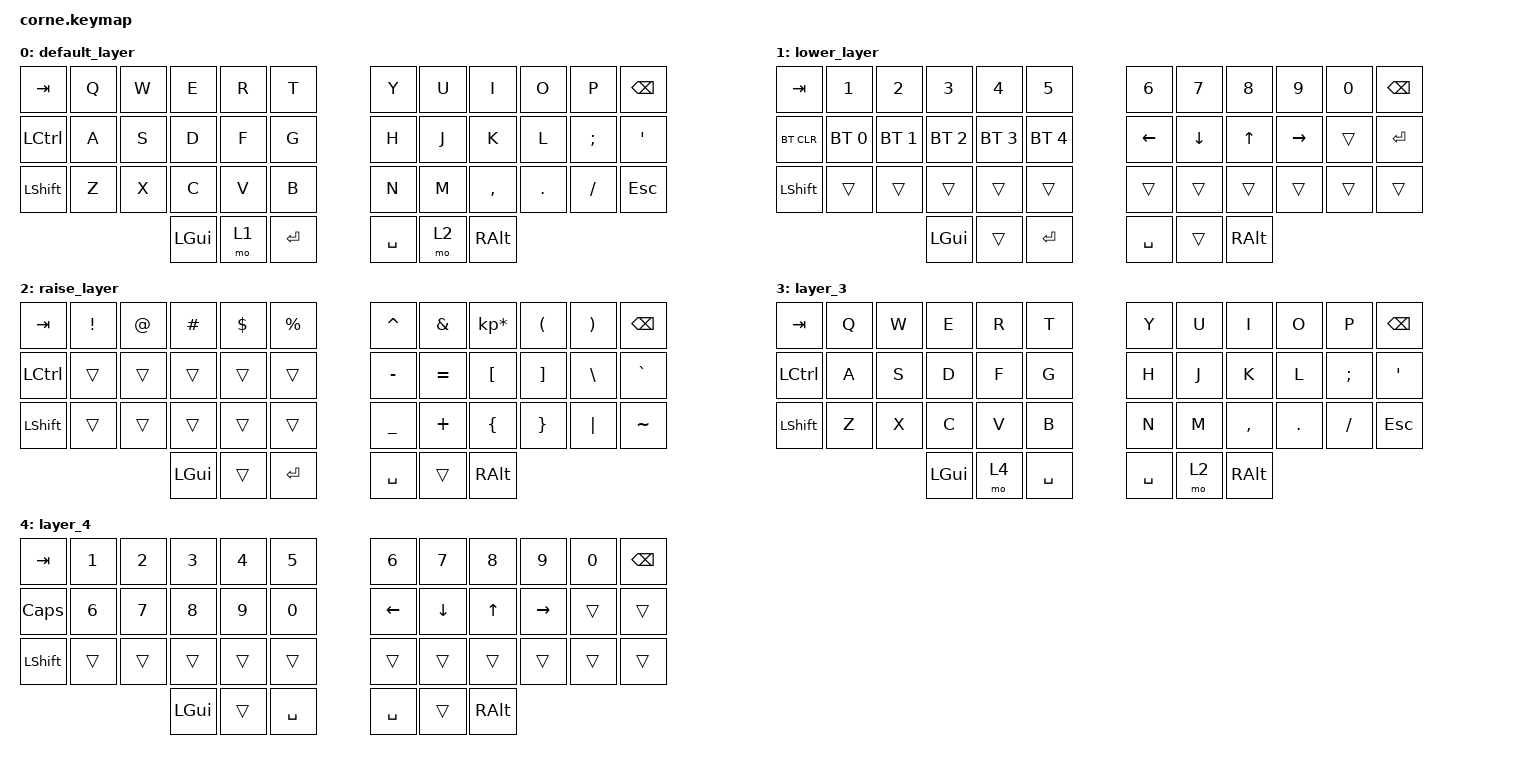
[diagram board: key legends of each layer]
/*
 * Copyright (c) 2020 The ZMK Contributors
 *
 * SPDX-License-Identifier: MIT
 */

#include <behaviors.dtsi>
#include <dt-bindings/zmk/bt.h>
#include <dt-bindings/zmk/keys.h>

/ {
    combos {
        compatible = "zmk,combos";

        chasespace {
            bindings = <&kp BACKSPACE>;
            key-positions = <19 20>;
        };

        togglegamelayer {
            bindings = <&to 3>;
            key-positions = <24 17>;
            layers = <2 3>;
        };

        togglebaselayer {
            bindings = <&to 0>;
            key-positions = <24 29>;
            layers = <2 3>;
        };

        capslock {
            bindings = <&kp CAPS>;
            key-positions = <17 18>;
        };
    };

    keymap {
        compatible = "zmk,keymap";

        default_layer {
            // -----------------------------------------------------------------------------------------
            // |  TAB |  Q  |  W  |  E  |  R  |  T  |   |  Y  |  U   |  I  |  O  |  P  | BKSP |
            // | CTRL |  A  |  S  |  D  |  F  |  G  |   |  H  |  J   |  K  |  L  |  ;  |  '   |
            // | SHFT |  Z  |  X  |  C  |  V  |  B  |   |  N  |  M   |  ,  |  .  |  /  | ESC  |
            //                    | GUI | LWR | RET |   | SPC | RSE  | ALT |

            bindings = <
&kp TAB    &kp Q  &kp W  &kp E     &kp R  &kp T         &kp Y      &kp U  &kp I      &kp O    &kp P     &kp BSPC
&kp LCTRL  &kp A  &kp S  &kp D     &kp F  &kp G         &kp H      &kp J  &kp K      &kp L    &kp SEMI  &kp SQT
&kp LSHFT  &kp Z  &kp X  &kp C     &kp V  &kp B         &kp N      &kp M  &kp COMMA  &kp DOT  &kp FSLH  &kp ESC
                         &kp LGUI  &mo 1  &kp RETURN    &kp SPACE  &mo 2  &kp RALT
            >;
        };

        lower_layer {
            // -----------------------------------------------------------------------------------------
            // |  TAB |  1  |  2  |  3  |  4  |  5  |   |  6  |  7  |  8  |  9  |  0  | BKSP |
            // | BTCLR| BT1 | BT2 | BT3 | BT4 | BT5 |   | LFT | DWN |  UP | RGT |     |  RET |
            // | SHFT |     |     |     |     |     |   |     |     |     |     |     |      |
            //                    | GUI |     | RET |   | SPC |     | ALT |

            bindings = <
&kp TAB     &kp N1        &kp N2        &kp N3        &kp N4        &kp N5          &kp N6     &kp N7    &kp N8    &kp N9     &kp N0  &kp BSPC
&bt BT_CLR  &bt BT_SEL 0  &bt BT_SEL 1  &bt BT_SEL 2  &bt BT_SEL 3  &bt BT_SEL 4    &kp LEFT   &kp DOWN  &kp UP    &kp RIGHT  &trans  &kp RET
&kp LSHFT   &trans        &trans        &trans        &trans        &trans          &trans     &trans    &trans    &trans     &trans  &trans
                                        &kp LGUI      &trans        &kp RETURN      &kp SPACE  &trans    &kp RALT
            >;
        };

        raise_layer {
            // -----------------------------------------------------------------------------------------
            // |  TAB |  !  |  @  |  #  |  $  |  %  |   |  ^  |  &  |  *  |  (  |  )  | BKSP |
            // | CTRL |     |     |     |     |     |   |  -  |  =  |  [  |  ]  |  \  |  `   |
            // | SHFT |     |     |     |     |     |   |  _  |  +  |  {  |  }  | "|" |  ~   |
            //                    | GUI |     | RET |   | SPC |     | ALT |

            bindings = <
&kp TAB    &kp EXCL  &kp AT  &kp HASH  &kp DLLR  &kp PRCNT     &kp CARET  &kp AMPS   &kp KP_MULTIPLY  &kp LPAR  &kp RPAR  &kp BSPC
&kp LCTRL  &trans    &trans  &trans    &trans    &trans        &kp MINUS  &kp EQUAL  &kp LBKT         &kp RBKT  &kp BSLH  &kp GRAVE
&kp LSHFT  &trans    &trans  &trans    &trans    &trans        &kp UNDER  &kp PLUS   &kp LBRC         &kp RBRC  &kp PIPE  &kp TILDE
                             &kp LGUI  &trans    &kp RETURN    &kp SPACE  &trans     &kp RALT
            >;
        };

        layer_3 {
            bindings = <
&kp TAB    &kp Q  &kp W  &kp E     &kp R  &kp T        &kp Y      &kp U  &kp I      &kp O    &kp P     &kp BSPC
&kp LCTRL  &kp A  &kp S  &kp D     &kp F  &kp G        &kp H      &kp J  &kp K      &kp L    &kp SEMI  &kp SQT
&kp LSHFT  &kp Z  &kp X  &kp C     &kp V  &kp B        &kp N      &kp M  &kp COMMA  &kp DOT  &kp FSLH  &kp ESC
                         &kp LGUI  &mo 4  &kp SPACE    &kp SPACE  &mo 2  &kp RALT
            >;
        };

        layer_4 {
            bindings = <
&kp TAB    &kp N1  &kp N2  &kp N3    &kp N4  &kp N5       &kp N6     &kp N7    &kp N8    &kp N9     &kp N0  &kp BSPC
&kp CAPS   &kp N6  &kp N7  &kp N8    &kp N9  &kp N0       &kp LEFT   &kp DOWN  &kp UP    &kp RIGHT  &trans  &trans
&kp LSHFT  &trans  &trans  &trans    &trans  &trans       &trans     &trans    &trans    &trans     &trans  &trans
                           &kp LGUI  &trans  &kp SPACE    &kp SPACE  &trans    &kp RALT
            >;
        };
    };
};
